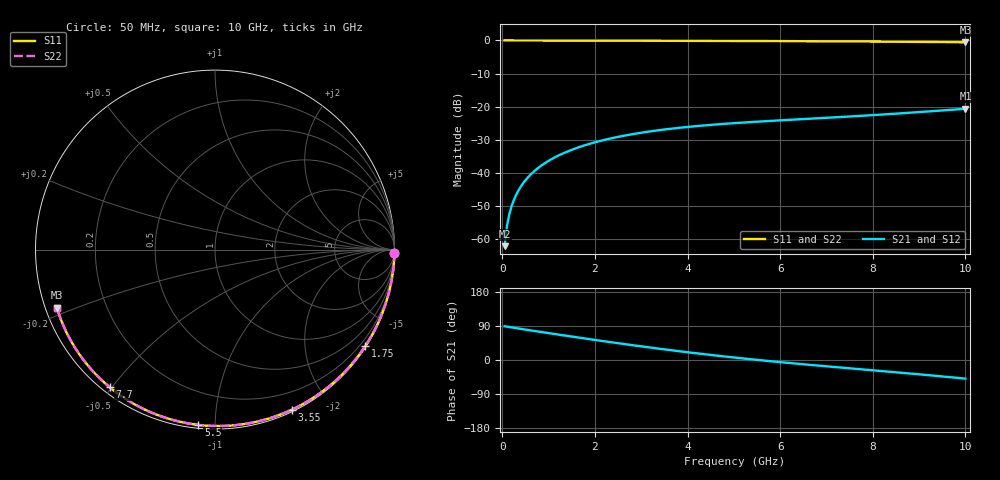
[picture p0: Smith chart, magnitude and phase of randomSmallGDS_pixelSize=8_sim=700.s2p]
! freq	dB(S11)	phase(S11)	dB(S12)	phase(S12)
!  dB(S21)	phase(S21)	dB(S22)	phase(S22)
!S-par simulation data
#  GHz  S  DB  R 50
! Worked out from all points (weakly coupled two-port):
!   200 points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, 50 MHz to 10 GHz, reference 50 ohm
!   highest |S21| = -20.65 dB at 10 GHz (marker M1); lowest = -62.2 dB at 50 MHz (marker M2)
!   lowest |S11| = -0.6 dB at 10 GHz (marker M3), VSWR 31.57, Z = 1.63 - j8.9 ohm
!   |S11| at or under -10 dB: nowhere
!   |S22| runs from -0.6 to 0.0 dB; largest |S21 - S12| = 0
!   S11 on the Smith chart (normalised r, x): 50 MHz: open; 1.75 GHz: 0.03, -3.41; 3.55 GHz: 0.02, -1.59; 5.5 GHz: 0.02, -0.91; 7.7 GHz: 0.02, -0.49; 10 GHz: 0.03, -0.18
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0.05  -0.00 -1.0  -62.17 89.0  -62.17 89.0  -0.00 -1.0
0.1  -0.00 -1.9  -56.16 88.0  -56.16 88.0  -0.00 -1.9
0.15  -0.00 -2.9  -52.64 87.0  -52.64 87.0  -0.00 -2.9
0.2  -0.00 -3.8  -50.15 86.0  -50.15 86.0  -0.00 -3.8
0.25  -0.00 -4.8  -48.22 85.0  -48.22 85.0  -0.00 -4.8
0.35  -0.01 -6.7  -45.32 83.1  -45.32 83.1  -0.01 -6.7
0.5  -0.01 -9.5  -42.26 80.2  -42.26 80.2  -0.01 -9.5
0.7  -0.02 -13.3  -39.39 76.5  -39.39 76.5  -0.02 -13.3
1  -0.02 -18.9  -36.38 70.9  -36.38 70.9  -0.02 -18.9
1.35  -0.03 -25.4  -33.90 64.5  -33.90 64.5  -0.03 -25.4
1.75  -0.04 -32.7  -31.82 57.3  -31.82 57.3  -0.04 -32.7
2.6  -0.07 -47.9  -28.86 42.6  -28.86 42.6  -0.07 -47.9
3.4  -0.09 -61.7  -27.09 29.6  -27.09 29.6  -0.09 -61.7
3.55  -0.09 -64.3  -26.83 27.3  -26.83 27.3  -0.09 -64.3
4.3  -0.12 -76.6  -25.75 16.2  -25.75 16.2  -0.12 -76.6
5.05  -0.15 -88.5  -24.95 6.0  -24.95 6.0  -0.15 -88.5
5.5  -0.17 -95.4  -24.55 0.3  -24.55 0.3  -0.17 -95.4
6.7  -0.23 -113.2  -23.62 -13.5  -23.62 -13.5  -0.23 -113.2
7.7  -0.30 -127.5  -22.83 -24.0  -22.83 -24.0  -0.30 -127.5
8.35  -0.36 -136.6  -22.26 -30.8  -22.26 -30.8  -0.36 -136.6
9.2  -0.45 -148.5  -21.46 -40.0  -21.46 -40.0  -0.45 -148.5
10  -0.55 -159.8  -20.65 -49.1  -20.65 -49.1  -0.55 -159.8
